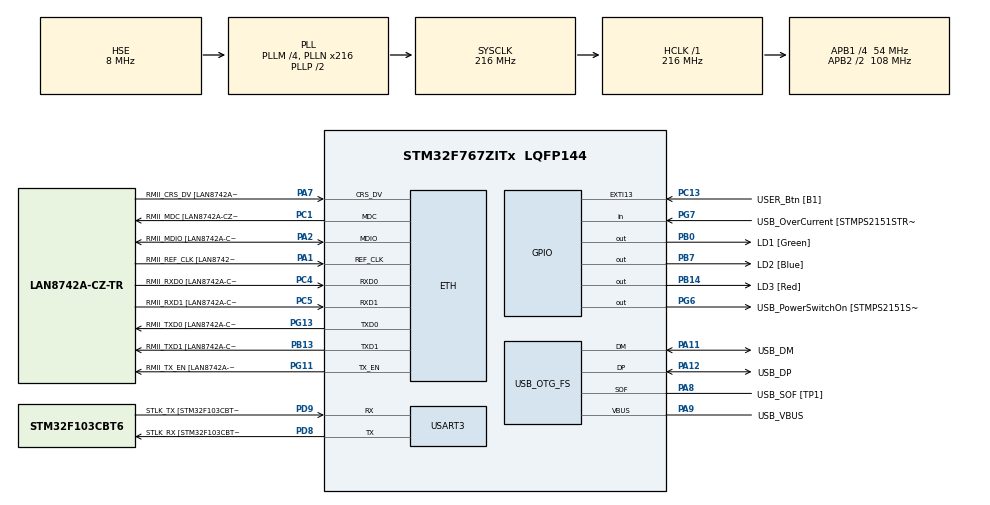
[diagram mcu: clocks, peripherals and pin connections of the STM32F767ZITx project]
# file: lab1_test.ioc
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ETH.MediaInterface=HAL_ETH_RMII_MODE
ETH.PHY_Name=LAN8742A_PHY_ADDRESS
ETH.PHY_Value=0
ETH.PhyAddress=0
Mcu.Family=STM32F7
Mcu.Name=STM32F767ZITx
Mcu.Package=LQFP144
NVIC.PriorityGroup=NVIC_PRIORITYGROUP_4
PA1.GPIO_Label=RMII_REF_CLK [LAN8742A-CZ-TR_REFCLK0]
PA1.Mode=RMII
PA1.Signal=ETH_REF_CLK
PA10.GPIO_Label=USB_ID
PA10.Signal=USB_OTG_FS_ID
PA11.GPIO_Label=USB_DM
PA11.Mode=Device_Only
PA11.Signal=USB_OTG_FS_DM
PA12.GPIO_Label=USB_DP
PA12.Mode=Device_Only
PA12.Signal=USB_OTG_FS_DP
PA13.GPIO_Label=TMS
PA13.Mode=Serial_Wire
PA13.Signal=SYS_JTMS-SWDIO
PA14.GPIO_Label=TCK
PA14.Mode=Serial_Wire
PA14.Signal=SYS_JTCK-SWCLK
PA2.GPIO_Label=RMII_MDIO [LAN8742A-CZ-TR_MDIO]
PA2.Mode=RMII
PA2.Signal=ETH_MDIO
PA7.GPIO_Label=RMII_CRS_DV [LAN8742A-CZ-TR_CRS_DV]
PA7.Mode=RMII
PA7.Signal=ETH_CRS_DV
PA8.GPIO_Label=USB_SOF [TP1]
PA8.Mode=Activate_SOF_FS
PA8.Signal=USB_OTG_FS_SOF
PA9.GPIO_Label=USB_VBUS
PA9.Mode=Activate_VBUS
PA9.Signal=USB_OTG_FS_VBUS
PB0.GPIO_Label=LD1 [Green]
PB0.Signal=GPIO_Output
PB13.GPIO_Label=RMII_TXD1 [LAN8742A-CZ-TR_TXD1]
PB13.Mode=RMII
PB13.Signal=ETH_TXD1
PB14.GPIO_Label=LD3 [Red]
PB14.Signal=GPIO_Output
PB3.GPIO_Label=SWO
PB3.Signal=SYS_JTDO-SWO
PB7.GPIO_Label=LD2 [Blue]
PB7.Signal=GPIO_Output
PC1.GPIO_Label=RMII_MDC [LAN8742A-CZ-TR_MDC]
PC1.Mode=RMII
PC1.Signal=ETH_MDC
PC13.GPIO_Label=USER_Btn [B1]
PC13.Signal=GPXTI13
PC14/OSC32_IN.Mode=LSE-External-Oscillator
PC14/OSC32_IN.Signal=RCC_OSC32_IN
PC15/OSC32_OUT.Mode=LSE-External-Oscillator
PC15/OSC32_OUT.Signal=RCC_OSC32_OUT
PC4.GPIO_Label=RMII_RXD0 [LAN8742A-CZ-TR_RXD0]
PC4.Mode=RMII
PC4.Signal=ETH_RXD0
PC5.GPIO_Label=RMII_RXD1 [LAN8742A-CZ-TR_RXD1]
PC5.Mode=RMII
PC5.Signal=ETH_RXD1
PD8.GPIO_Label=STLK_RX [STM32F103CBT6_PA3]
PD8.Mode=Asynchronous
PD8.Signal=USART3_TX
PD9.GPIO_Label=STLK_TX [STM32F103CBT6_PA2]
PD9.Mode=Asynchronous
PD9.Signal=USART3_RX
PG11.GPIO_Label=RMII_TX_EN [LAN8742A-CZ-TR_TXEN]
PG11.Mode=RMII
PG11.Signal=ETH_TX_EN
PG13.GPIO_Label=RMII_TXD0 [LAN8742A-CZ-TR_TXD0]
PG13.Mode=RMII
PG13.Signal=ETH_TXD0
PG6.GPIO_Label=USB_PowerSwitchOn [STMPS2151STR_EN]
PG6.Signal=GPIO_Output
PG7.GPIO_Label=USB_OverCurrent [STMPS2151STR_FAULT]
PG7.Signal=GPIO_Input
PH0/OSC_IN.GPIO_Label=MCO [STM32F103CBT6_PA8]
PH0/OSC_IN.Mode=HSE-External-Clock-Source
PH0/OSC_IN.Signal=RCC_OSC_IN
PH1/OSC_OUT.Mode=HSE-External-Clock-Source
PH1/OSC_OUT.Signal=RCC_OSC_OUT
ProjectManager.HeapSize=0x200
ProjectManager.StackSize=0x400
ProjectManager.TargetToolchain=STM32CubeIDE
RCC.48MHZClocksFreq_Value=24000000
RCC.AHBFreq_Value=216000000
RCC.APB1CLKDivider=RCC_HCLK_DIV4
RCC.APB1Freq_Value=54000000
RCC.APB1TimFreq_Value=108000000
RCC.APB2CLKDivider=RCC_HCLK_DIV2
RCC.APB2Freq_Value=108000000
RCC.APB2TimFreq_Value=216000000
RCC.CortexFreq_Value=216000000
RCC.HCLKFreq_Value=216000000
RCC.HSE_VALUE=8000000
RCC.HSI_VALUE=16000000
RCC.PLLM=4
RCC.PLLMUL=RCC_PLL_MUL9
RCC.PLLN=216
RCC.PLLQ=9
RCC.PRESCALERUSB=RCC_USBCLKSOURCE_PLL_DIV1_5
RCC.SYSCLKFreq_VALUE=216000000
RCC.SYSCLKSource=RCC_SYSCLKSOURCE_PLLCLK
RCC.SYSCLKSourceVirtual=RCC_SYSCLKSOURCE_PLLCLK
RCC.USBFreq_Value=48000000
RCC.VCOOutputFreq_Value=432000000
USART3.VirtualMode-Asynchronous=VM_ASYNC
USB_OTG_FS.VirtualMode=Device_Only
board=NUCLEO-F767ZI

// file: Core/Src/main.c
/* USER CODE BEGIN Header */
/**
  ******************************************************************************
  * @file           : main.c
  * @brief          : Main program body
  ******************************************************************************
  * @attention
  *
  * Copyright (c) 2023 STMicroelectronics.
  * All rights reserved.
  *
  * This software is licensed under terms that can be found in the LICENSE file
  * in the root directory of this software component.
  * If no LICENSE file comes with this software, it is provided AS-IS.
  *
  ******************************************************************************
  */
/* USER CODE END Header */
#include "main.h"
#include "string.h"

#if defined ( __ICCARM__ ) /*!< IAR Compiler */
#pragma location=0x2007c000
ETH_DMADescTypeDef  DMARxDscrTab[ETH_RX_DESC_CNT]; /* Ethernet Rx DMA Descriptors */
#pragma location=0x2007c0a0
ETH_DMADescTypeDef  DMATxDscrTab[ETH_TX_DESC_CNT]; /* Ethernet Tx DMA Descriptors */

#elif defined ( __CC_ARM )  /* MDK ARM Compiler */

__attribute__((at(0x2007c000))) ETH_DMADescTypeDef  DMARxDscrTab[ETH_RX_DESC_CNT]; /* Ethernet Rx DMA Descriptors */
__attribute__((at(0x2007c0a0))) ETH_DMADescTypeDef  DMATxDscrTab[ETH_TX_DESC_CNT]; /* Ethernet Tx DMA Descriptors */

#elif defined ( __GNUC__ ) /* GNU Compiler */
ETH_DMADescTypeDef DMARxDscrTab[ETH_RX_DESC_CNT] __attribute__((section(".RxDecripSection"))); /* Ethernet Rx DMA Descriptors */
ETH_DMADescTypeDef DMATxDscrTab[ETH_TX_DESC_CNT] __attribute__((section(".TxDecripSection")));   /* Ethernet Tx DMA Descriptors */

#endif

ETH_TxPacketConfig TxConfig;

ETH_HandleTypeDef heth;

UART_HandleTypeDef huart3;

PCD_HandleTypeDef hpcd_USB_OTG_FS;

void SystemClock_Config(void);
static void MX_GPIO_Init(void);
static void MX_ETH_Init(void);
static void MX_USART3_UART_Init(void);
static void MX_USB_OTG_FS_PCD_Init(void);

/* USER CODE BEGIN 0 */
//uint8_t count = 0;
uint8_t count0 = 0;
uint8_t count1 = 0;
uint8_t count2 = 0;
uint8_t sum = 0;
/* USER CODE END 0 */

int main(void)
{

  /* MCU Configuration--------------------------------------------------------*/

  /* Reset of all peripherals, Initializes the Flash interface and the Systick. */
  HAL_Init();

  /* Configure the system clock */
  SystemClock_Config();

  /* Initialize all configured peripherals */
  MX_GPIO_Init();
  MX_ETH_Init();
  MX_USART3_UART_Init();
  MX_USB_OTG_FS_PCD_Init();

  /* Infinite loop */
  /* USER CODE BEGIN WHILE */
  while (1)
  {
//	  HAL_GPIO_WritePin(GPIOB, GPIO_PIN_0, GPIO_PIN_SET);
//	  HAL_GPIO_WritePin(GPIOB, GPIO_PIN_7, GPIO_PIN_SET);
//	  HAL_GPIO_WritePin(GPIOB, GPIO_PIN_14, GPIO_PIN_SET);
//	  HAL_Delay(500);
//	  HAL_GPIO_WritePin(GPIOB, GPIO_PIN_0, GPIO_PIN_RESET);
//	  HAL_GPIO_WritePin(GPIOB, GPIO_PIN_7, GPIO_PIN_RESET);
//	  HAL_GPIO_WritePin(GPIOB, GPIO_PIN_14, GPIO_PIN_RESET);
//	  HAL_Delay(500);

//	  HAL_Delay(1000);
//	  //can use count %= 8; instead of if
//	  if (count >= 7){
//		  count = 0;
//	  }
//	  else
//	  {
//		  count++;
//	  }

	  HAL_Delay(1000);
	  if (count1 && count0){
//		  count2 != count2;
		  if (count2){
			  count2 = 0;
		  }
		  else{
			  count2 = 1;
		  }
	  }
	  if (count0){
//		  count1 != count1;
		  if (count1){
			  count1 = 0;
		  }
		  else{
			  count1 = 1;
		  }
	  }
//	  count0 != count0;
	  if (count0){
		  count0 = 0;
	  }
	  else{
		  count0 = 1;
	  }
	  sum = count2*4 + count1*2 + count0;
	  HAL_GPIO_WritePin(GPIOB, GPIO_PIN_14, count0);
	  HAL_GPIO_WritePin(GPIOB, GPIO_PIN_7, count1);
	  HAL_GPIO_WritePin(GPIOB, GPIO_PIN_0, count2);

    /* USER CODE END WHILE */

  }
}

void SystemClock_Config(void)
{
  RCC_OscInitTypeDef RCC_OscInitStruct = {0};
  RCC_ClkInitTypeDef RCC_ClkInitStruct = {0};

  /** Configure LSE Drive Capability
  */
  HAL_PWR_EnableBkUpAccess();

  /** Configure the main internal regulator output voltage
  */
  __HAL_RCC_PWR_CLK_ENABLE();
  __HAL_PWR_VOLTAGESCALING_CONFIG(PWR_REGULATOR_VOLTAGE_SCALE1);

  /** Initializes the RCC Oscillators according to the specified parameters
  * in the RCC_OscInitTypeDef structure.
  */
  RCC_OscInitStruct.OscillatorType = RCC_OSCILLATORTYPE_HSE;
  RCC_OscInitStruct.HSEState = RCC_HSE_BYPASS;
  RCC_OscInitStruct.PLL.PLLState = RCC_PLL_ON;
  RCC_OscInitStruct.PLL.PLLSource = RCC_PLLSOURCE_HSE;
  RCC_OscInitStruct.PLL.PLLM = 4;
  RCC_OscInitStruct.PLL.PLLN = 216;
  RCC_OscInitStruct.PLL.PLLP = RCC_PLLP_DIV2;
  RCC_OscInitStruct.PLL.PLLQ = 9;
  RCC_OscInitStruct.PLL.PLLR = 2;
  if (HAL_RCC_OscConfig(&RCC_OscInitStruct) != HAL_OK)
  {
    Error_Handler();
  }

  /** Activate the Over-Drive mode
  */
  if (HAL_PWREx_EnableOverDrive() != HAL_OK)
  {
    Error_Handler();
  }

  /** Initializes the CPU, AHB and APB buses clocks
  */
  RCC_ClkInitStruct.ClockType = RCC_CLOCKTYPE_HCLK|RCC_CLOCKTYPE_SYSCLK
                              |RCC_CLOCKTYPE_PCLK1|RCC_CLOCKTYPE_PCLK2;
  RCC_ClkInitStruct.SYSCLKSource = RCC_SYSCLKSOURCE_PLLCLK;
  RCC_ClkInitStruct.AHBCLKDivider = RCC_SYSCLK_DIV1;
  RCC_ClkInitStruct.APB1CLKDivider = RCC_HCLK_DIV4;
  RCC_ClkInitStruct.APB2CLKDivider = RCC_HCLK_DIV2;

  if (HAL_RCC_ClockConfig(&RCC_ClkInitStruct, FLASH_LATENCY_7) != HAL_OK)
  {
    Error_Handler();
  }
}

static void MX_ETH_Init(void)
{

   static uint8_t MACAddr[6];

  heth.Instance = ETH;
  MACAddr[0] = 0x00;
  MACAddr[1] = 0x80;
  MACAddr[2] = 0xE1;
  MACAddr[3] = 0x00;
  MACAddr[4] = 0x00;
  MACAddr[5] = 0x00;
  heth.Init.MACAddr = &MACAddr[0];
  heth.Init.MediaInterface = HAL_ETH_RMII_MODE;
  heth.Init.TxDesc = DMATxDscrTab;
  heth.Init.RxDesc = DMARxDscrTab;
  heth.Init.RxBuffLen = 1524;

  if (HAL_ETH_Init(&heth) != HAL_OK)
  {
    Error_Handler();
  }

  memset(&TxConfig, 0 , sizeof(ETH_TxPacketConfig));
  TxConfig.Attributes = ETH_TX_PACKETS_FEATURES_CSUM | ETH_TX_PACKETS_FEATURES_CRCPAD;
  TxConfig.ChecksumCtrl = ETH_CHECKSUM_IPHDR_PAYLOAD_INSERT_PHDR_CALC;
  TxConfig.CRCPadCtrl = ETH_CRC_PAD_INSERT;

}

static void MX_USART3_UART_Init(void)
{

  huart3.Instance = USART3;
  huart3.Init.BaudRate = 115200;
  huart3.Init.WordLength = UART_WORDLENGTH_8B;
  huart3.Init.StopBits = UART_STOPBITS_1;
  huart3.Init.Parity = UART_PARITY_NONE;
  huart3.Init.Mode = UART_MODE_TX_RX;
  huart3.Init.HwFlowCtl = UART_HWCONTROL_NONE;
  huart3.Init.OverSampling = UART_OVERSAMPLING_16;
  huart3.Init.OneBitSampling = UART_ONE_BIT_SAMPLE_DISABLE;
  huart3.AdvancedInit.AdvFeatureInit = UART_ADVFEATURE_NO_INIT;
  if (HAL_UART_Init(&huart3) != HAL_OK)
  {
    Error_Handler();
  }

}

static void MX_USB_OTG_FS_PCD_Init(void)
{

  hpcd_USB_OTG_FS.Instance = USB_OTG_FS;
  hpcd_USB_OTG_FS.Init.dev_endpoints = 6;
  hpcd_USB_OTG_FS.Init.speed = PCD_SPEED_FULL;
  hpcd_USB_OTG_FS.Init.dma_enable = DISABLE;
  hpcd_USB_OTG_FS.Init.phy_itface = PCD_PHY_EMBEDDED;
  hpcd_USB_OTG_FS.Init.Sof_enable = ENABLE;
  hpcd_USB_OTG_FS.Init.low_power_enable = DISABLE;
  hpcd_USB_OTG_FS.Init.lpm_enable = DISABLE;
  hpcd_USB_OTG_FS.Init.vbus_sensing_enable = ENABLE;
  hpcd_USB_OTG_FS.Init.use_dedicated_ep1 = DISABLE;
  if (HAL_PCD_Init(&hpcd_USB_OTG_FS) != HAL_OK)
  {
    Error_Handler();
  }

}

static void MX_GPIO_Init(void)
{
  GPIO_InitTypeDef GPIO_InitStruct = {0};

  /* GPIO Ports Clock Enable */
  __HAL_RCC_GPIOC_CLK_ENABLE();
  __HAL_RCC_GPIOH_CLK_ENABLE();
  __HAL_RCC_GPIOA_CLK_ENABLE();
  __HAL_RCC_GPIOB_CLK_ENABLE();
  __HAL_RCC_GPIOD_CLK_ENABLE();
  __HAL_RCC_GPIOG_CLK_ENABLE();

  /*Configure GPIO pin Output Level */
  HAL_GPIO_WritePin(GPIOB, LD1_Pin|LD3_Pin|LD2_Pin, GPIO_PIN_RESET);

  /*Configure GPIO pin Output Level */
  HAL_GPIO_WritePin(USB_PowerSwitchOn_GPIO_Port, USB_PowerSwitchOn_Pin, GPIO_PIN_RESET);

  /*Configure GPIO pin : USER_Btn_Pin */
  GPIO_InitStruct.Pin = USER_Btn_Pin;
  GPIO_InitStruct.Mode = GPIO_MODE_IT_RISING;
  GPIO_InitStruct.Pull = GPIO_NOPULL;
  HAL_GPIO_Init(USER_Btn_GPIO_Port, &GPIO_InitStruct);

  /*Configure GPIO pins : LD1_Pin LD3_Pin LD2_Pin */
  GPIO_InitStruct.Pin = LD1_Pin|LD3_Pin|LD2_Pin;
  GPIO_InitStruct.Mode = GPIO_MODE_OUTPUT_PP;
  GPIO_InitStruct.Pull = GPIO_NOPULL;
  GPIO_InitStruct.Speed = GPIO_SPEED_FREQ_LOW;
  HAL_GPIO_Init(GPIOB, &GPIO_InitStruct);

  /*Configure GPIO pin : USB_PowerSwitchOn_Pin */
  GPIO_InitStruct.Pin = USB_PowerSwitchOn_Pin;
  GPIO_InitStruct.Mode = GPIO_MODE_OUTPUT_PP;
  GPIO_InitStruct.Pull = GPIO_NOPULL;
  GPIO_InitStruct.Speed = GPIO_SPEED_FREQ_LOW;
  HAL_GPIO_Init(USB_PowerSwitchOn_GPIO_Port, &GPIO_InitStruct);

  /*Configure GPIO pin : USB_OverCurrent_Pin */
  GPIO_InitStruct.Pin = USB_OverCurrent_Pin;
  GPIO_InitStruct.Mode = GPIO_MODE_INPUT;
  GPIO_InitStruct.Pull = GPIO_NOPULL;
  HAL_GPIO_Init(USB_OverCurrent_GPIO_Port, &GPIO_InitStruct);

}

void Error_Handler(void)
{
  __disable_irq();
  while (1)
  {
  }
}
